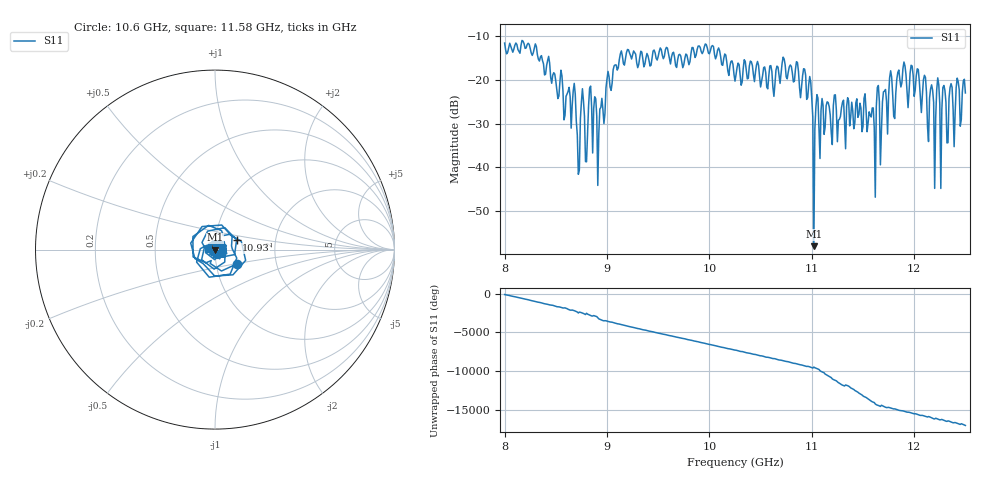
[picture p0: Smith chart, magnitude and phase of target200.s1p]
#  HZ  S  RI  R  50.00
! Rohde & Schwarz Vector Network Analyzer
! Rohde-Schwarz,ZNA43-4Port,1332450044101932,2.92
! Created: UTC 6/9/2026, 6:47:54 AM
! freq[Hz]  re:S11  im:S11
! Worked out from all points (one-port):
!   451 points, 8 GHz to 12.5 GHz, reference 50 ohm
!   lowest |S11| = -57.9 dB at 11.02 GHz (marker M1), VSWR 1.00, Z = 49.9 - j0.106 ohm
!   |S11| at or under -10 dB: start of sweep to end of sweep
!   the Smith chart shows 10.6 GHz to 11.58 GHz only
!   S11 on the Smith chart (normalised r, x): 10.6 GHz: 1.26, -0.21; 10.93 GHz: 1.27, +0.14; 11.58 GHz: 0.93, +0.01
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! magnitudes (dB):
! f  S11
! 8 GHz  -11.6
! 8.3 GHz  -11.8
! 8.57 GHz  -22.6
! 8.68 GHz  -20.8
! 8.72 GHz  -41.6
! 8.76 GHz  -22.0
! 8.79 GHz  -38.7
! 8.83 GHz  -21.9
! 8.92 GHz  -32.2
! 9.13 GHz  -14.1
! 9.69 GHz  -15.4
! 10.25 GHz  -20.3
! 10.6 GHz  -16.8
! 10.82 GHz  -20.5
! 10.93 GHz  -17.6
! 10.99 GHz  -20.6
! 11.02 GHz  -57.9
! 11.05 GHz  -23.4
! 11.38 GHz  -28.5
! 11.58 GHz  -28.5
! 11.6 GHz  -26.4
! 11.77 GHz  -18.0
! 11.94 GHz  -26.4
! 12.1 GHz  -19.0
! 12.2 GHz  -44.8
! 12.23 GHz  -19.6
! 12.32 GHz  -34.4
! 12.5 GHz  -23.0
